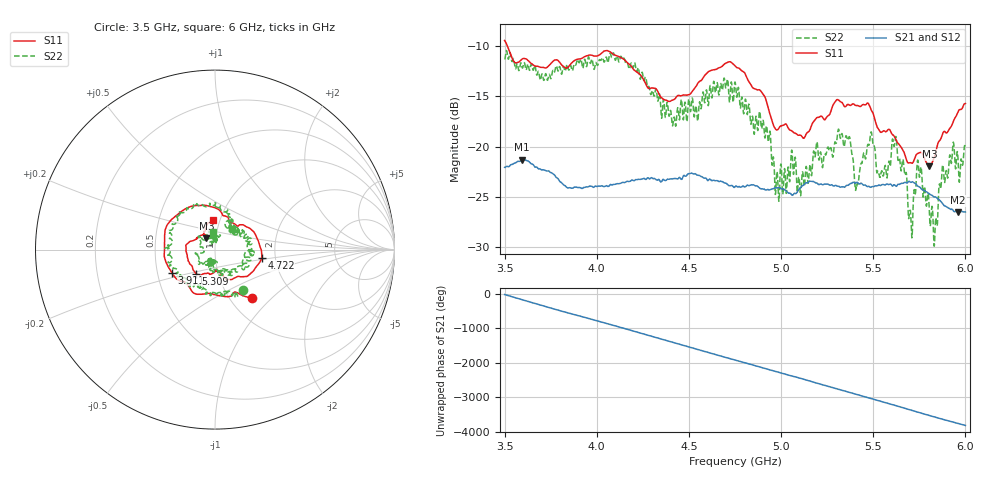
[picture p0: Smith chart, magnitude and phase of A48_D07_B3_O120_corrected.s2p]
! Created with skrf 1.9.0 (http://scikit-rf.org).
# Hz S RI R 50.0
!freq ReS11 ImS11 ReS21 ImS21 ReS12 ImS12 ReS22 ImS22
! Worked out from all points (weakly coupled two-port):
!   1601 points, 3.5 GHz to 6 GHz, reference 50 ohm
!   highest |S21| = -21.29 dB at 3.594 GHz (marker M1); lowest = -26.5 dB at 5.961 GHz (marker M2)
!   lowest |S11| = -22.0 dB at 5.805 GHz (marker M3), VSWR 1.17, Z = 45 + j5.76 ohm
!   |S11| at or under -10 dB: 3.515 GHz to end of sweep
!   |S22| runs from -29.9 to -10.5 dB; largest |S21 - S12| = 0.00093
!   S11 on the Smith chart (normalised r, x): 3.5 GHz: 1.26, -0.76; 3.911 GHz: 0.60, -0.16; 4.722 GHz: 1.69, -0.17; 5.309 GHz: 0.78, -0.22; 6 GHz: 0.93, +0.31
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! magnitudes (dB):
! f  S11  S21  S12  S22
! 3.5 GHz  -9.5  -22.1  -22.0  -11.3
! 3.594 GHz  -11.3  -21.3  -21.3  -12.1
! 3.911 GHz  -11.3  -24.1  -24.0  -11.4
! 3.917 GHz  -11.3  -24.2  -24.1  -11.5
! 4.334 GHz  -14.6  -23.3  -23.2  -15.3
! 4.722 GHz  -11.6  -23.9  -23.9  -15.4
! 4.75 GHz  -12.0  -24.0  -23.9  -13.6
! 4.931 GHz  -16.3  -24.3  -24.2  -19.5
! 4.98 GHz  -18.3  -24.1  -24.1  -22.7
! 5.167 GHz  -17.8  -23.5  -23.4  -22.7
! 5.309 GHz  -15.3  -23.9  -23.9  -18.4
! 5.409 GHz  -15.9  -23.5  -23.5  -24.0
! 5.484 GHz  -16.1  -24.0  -24.0  -18.9
! 5.584 GHz  -18.3  -23.8  -23.7  -21.5
! 5.616 GHz  -19.0  -23.8  -23.8  -19.8
! 5.702 GHz  -21.6  -23.5  -23.5  -26.3
! 5.748 GHz  -20.6  -24.0  -24.0  -22.7
! 5.805 GHz  -22.0  -24.7  -24.7  -26.6
! 5.838 GHz  -20.7  -25.0  -25.0  -27.4
! 5.869 GHz  -19.1  -25.5  -25.4  -23.8
! 5.961 GHz  -16.5  -26.5  -26.5  -21.7
! 6 GHz  -15.7  -26.5  -26.4  -20.1
